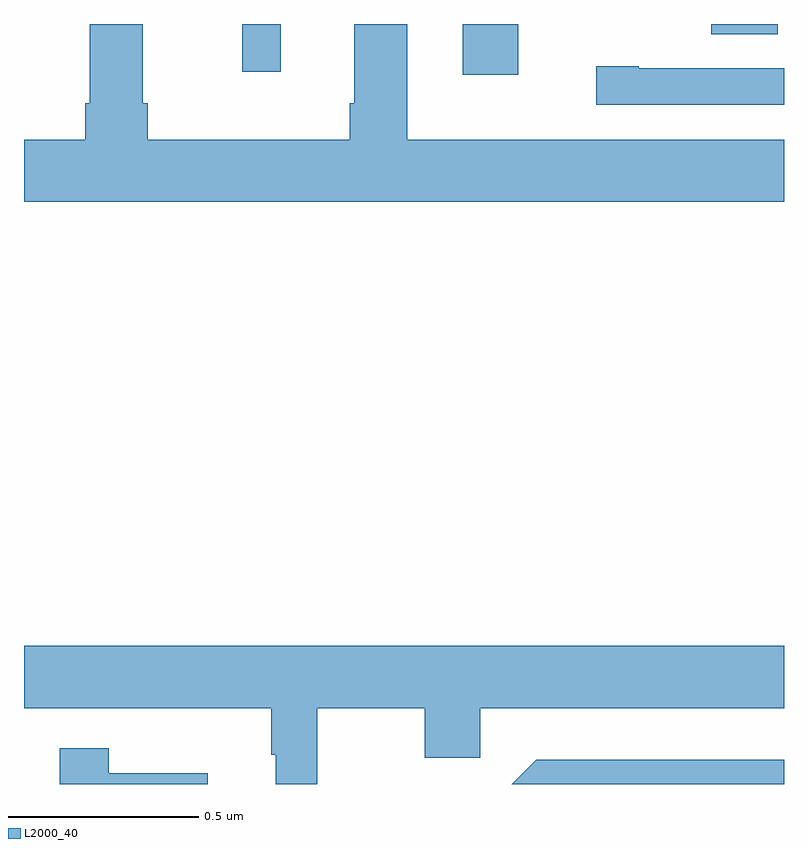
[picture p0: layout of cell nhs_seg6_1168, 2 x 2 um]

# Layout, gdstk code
import gdstk
lib = gdstk.Library(unit=1e-6, precision=1e-09)
def R(c, l, rs):  # rectangles x0, y0, x1, y1
    for r in rs: c.add(gdstk.rectangle(r[:2], r[2:], *l))
def P(c, l, *ps):  # polygons
    for p in ps: c.add(gdstk.Polygon(p, *l))
L2000_40 = (2000, 40)

nhs_seg6_1168 = lib.new_cell('nhs_seg6_1168')
R(nhs_seg6_1168, L2000_40, [(127.154,918.366,127.3,918.5), (126.574,918.375,126.676,918.5), (127.808,918.473,127.984,918.5)])
P(nhs_seg6_1168, L2000_40, [(128,918.196),(127.009,918.196),(127.009,918.5),(126.869,918.5),(126.869,918.292),(126.857,918.292),(126.857,918.196),(126.326,918.196),(126.326,918.292),(126.313,918.292),(126.313,918.5),(126.173,918.5),(126.173,918.292),(126.161,918.292),(126.161,918.196),(126,918.196),(126,918.032),(128,918.032)],
  [(128,918.384),(127.618,918.384),(127.618,918.389),(127.506,918.389),(127.506,918.288),(128,918.288)],
  [(126.772,916.7),(127.054,916.7),(127.054,916.569),(127.2,916.569),(127.2,916.7),(128,916.7),(128,916.864),(126,916.864),(126,916.7),(126.651,916.7),(126.651,916.577),(126.662,916.577),(126.662,916.5),(126.772,916.5)],
  [(126.484,916.528),(126.223,916.528),(126.223,916.594),(126.094,916.594),(126.094,916.5),(126.484,916.5)],
  [(128,916.564),(127.348,916.564),(127.284,916.5),(128,916.5)])

lib.write_gds('nhs_seg6_1168.gds')
